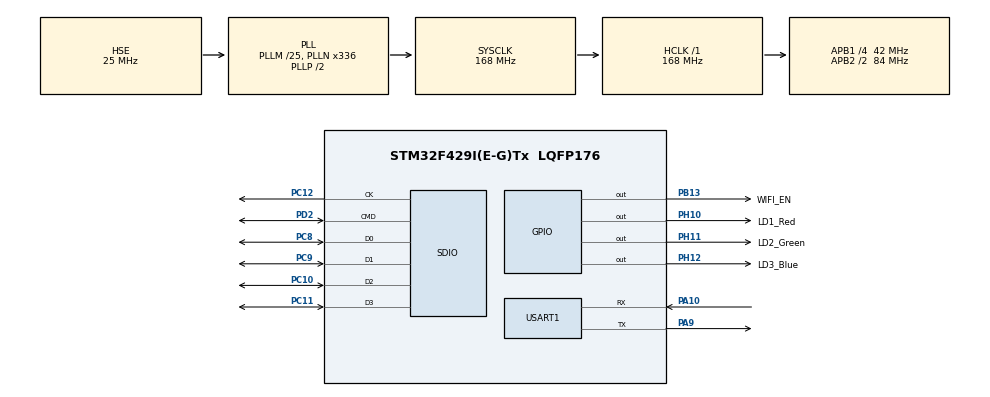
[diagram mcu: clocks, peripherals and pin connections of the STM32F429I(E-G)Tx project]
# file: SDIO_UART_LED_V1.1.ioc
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Dma.Request0=SDIO_RX
Dma.Request1=SDIO_TX
Dma.SDIO_RX.0.Direction=DMA_PERIPH_TO_MEMORY
Dma.SDIO_RX.0.FIFOMode=DMA_FIFOMODE_ENABLE
Dma.SDIO_RX.0.FIFOThreshold=DMA_FIFO_THRESHOLD_FULL
Dma.SDIO_RX.0.Instance=DMA2_Stream3
Dma.SDIO_RX.0.MemBurst=DMA_MBURST_SINGLE
Dma.SDIO_RX.0.MemDataAlignment=DMA_MDATAALIGN_BYTE
Dma.SDIO_RX.0.MemInc=DMA_MINC_ENABLE
Dma.SDIO_RX.0.Mode=DMA_PFCTRL
Dma.SDIO_RX.0.PeriphBurst=DMA_PBURST_INC4
Dma.SDIO_RX.0.PeriphDataAlignment=DMA_PDATAALIGN_WORD
Dma.SDIO_RX.0.PeriphInc=DMA_PINC_DISABLE
Dma.SDIO_RX.0.Priority=DMA_PRIORITY_LOW
Dma.SDIO_TX.1.Direction=DMA_MEMORY_TO_PERIPH
Dma.SDIO_TX.1.FIFOMode=DMA_FIFOMODE_ENABLE
Dma.SDIO_TX.1.FIFOThreshold=DMA_FIFO_THRESHOLD_FULL
Dma.SDIO_TX.1.Instance=DMA2_Stream6
Dma.SDIO_TX.1.MemBurst=DMA_MBURST_SINGLE
Dma.SDIO_TX.1.MemDataAlignment=DMA_MDATAALIGN_BYTE
Dma.SDIO_TX.1.MemInc=DMA_MINC_ENABLE
Dma.SDIO_TX.1.Mode=DMA_PFCTRL
Dma.SDIO_TX.1.PeriphBurst=DMA_PBURST_INC4
Dma.SDIO_TX.1.PeriphDataAlignment=DMA_PDATAALIGN_WORD
Dma.SDIO_TX.1.PeriphInc=DMA_PINC_DISABLE
Dma.SDIO_TX.1.Priority=DMA_PRIORITY_LOW
Mcu.Family=STM32F4
Mcu.Name=STM32F429I(E-G)Tx
Mcu.Package=LQFP176
NVIC.DMA2_Stream3_IRQn=true\:0\:0\:false\:false\:true\:false\:true
NVIC.DMA2_Stream6_IRQn=true\:0\:0\:false\:false\:true\:false\:true
NVIC.PriorityGroup=NVIC_PRIORITYGROUP_4
NVIC.SDIO_IRQn=true\:0\:0\:false\:false\:true\:true\:true
NVIC.TIM7_IRQn=true\:15\:0\:false\:false\:true\:false\:true
NVIC.TimeBase=TIM7_IRQn
NVIC.TimeBaseIP=TIM7
PA10.Mode=Asynchronous
PA10.Signal=USART1_RX
PA13.Mode=Serial_Wire
PA13.Signal=SYS_JTMS-SWDIO
PA14.Mode=Serial_Wire
PA14.Signal=SYS_JTCK-SWCLK
PA9.Mode=Asynchronous
PA9.Signal=USART1_TX
PB13.GPIO_Label=WIFI_EN
PB13.Signal=GPIO_Output
PC10.Mode=SD_4_bits_Wide_bus
PC10.Signal=SDIO_D2
PC11.Mode=SD_4_bits_Wide_bus
PC11.Signal=SDIO_D3
PC12.Mode=SD_4_bits_Wide_bus
PC12.Signal=SDIO_CK
PC8.Mode=SD_4_bits_Wide_bus
PC8.Signal=SDIO_D0
PC9.Mode=SD_4_bits_Wide_bus
PC9.Signal=SDIO_D1
PD2.Mode=SD_4_bits_Wide_bus
PD2.Signal=SDIO_CMD
PH0/OSC_IN.Mode=HSE-External-Oscillator
PH0/OSC_IN.Signal=RCC_OSC_IN
PH1/OSC_OUT.Mode=HSE-External-Oscillator
PH1/OSC_OUT.Signal=RCC_OSC_OUT
PH10.GPIO_Label=LD1_Red
PH10.PinState=GPIO_PIN_SET
PH10.Signal=GPIO_Output
PH11.GPIO_Label=LD2_Green
PH11.PinState=GPIO_PIN_SET
PH11.Signal=GPIO_Output
PH12.GPIO_Label=LD3_Blue
PH12.PinState=GPIO_PIN_SET
PH12.Signal=GPIO_Output
ProjectManager.HeapSize=0x200
ProjectManager.StackSize=0x400
ProjectManager.TargetToolchain=STM32CubeIDE
RCC.48MHZClocksFreq_Value=48000000
RCC.AHBFreq_Value=168000000
RCC.APB1CLKDivider=RCC_HCLK_DIV4
RCC.APB1Freq_Value=42000000
RCC.APB1TimFreq_Value=84000000
RCC.APB2CLKDivider=RCC_HCLK_DIV2
RCC.APB2Freq_Value=84000000
RCC.APB2TimFreq_Value=168000000
RCC.CortexFreq_Value=168000000
RCC.HCLKFreq_Value=168000000
RCC.HSE_VALUE=25000000
RCC.HSI_VALUE=16000000
RCC.LSE_VALUE=32768
RCC.PLLM=25
RCC.PLLN=336
RCC.PLLQ=7
RCC.PLLSourceVirtual=RCC_PLLSOURCE_HSE
RCC.SYSCLKFreq_VALUE=168000000
RCC.SYSCLKSource=RCC_SYSCLKSOURCE_PLLCLK
RCC.VCOOutputFreq_Value=336000000
USART1.VirtualMode=VM_ASYNC
VP_FATFS_VS_Generic.Mode=User_defined
VP_SYS_VS_tim7.Mode=TIM7
board=custom

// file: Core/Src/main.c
/* USER CODE BEGIN Header */
/**
  ******************************************************************************
  * @file           : main.c
  * @brief          : Main program body
  ******************************************************************************
  * @attention
  *
  * Copyright (c) 2022 STMicroelectronics.
  * All rights reserved.
  *
  * This software is licensed under terms that can be found in the LICENSE file
  * in the root directory of this software component.
  * If no LICENSE file comes with this software, it is provided AS-IS.
  *
  ******************************************************************************
  */
/* USER CODE END Header */
#include "main.h"
#include "fatfs.h"

/* USER CODE BEGIN Includes */
#include "stdio.h"
#include "ff.h"
#include "file_handling.h"
/* USER CODE END Includes */

SD_HandleTypeDef hsd;
DMA_HandleTypeDef hdma_sdio_rx;
DMA_HandleTypeDef hdma_sdio_tx;

UART_HandleTypeDef huart1;

void SystemClock_Config(void);
static void MX_GPIO_Init(void);
static void MX_DMA_Init(void);
static void MX_SDIO_SD_Init(void);
static void MX_USART1_UART_Init(void);

/* USER CODE BEGIN 0 */
int _write(int file, char *ptr, int len)
{
	HAL_UART_Transmit(&huart1, (uint8_t *)ptr, len, 100);
	return len;
}

FIL fp;
uint8_t work[4096];
/* USER CODE END 0 */

int main(void)
{

  /* MCU Configuration--------------------------------------------------------*/

  /* Reset of all peripherals, Initializes the Flash interface and the Systick. */
  HAL_Init();

  /* Configure the system clock */
  SystemClock_Config();

  /* Initialize all configured peripherals */
  MX_GPIO_Init();
  MX_DMA_Init();
  MX_SDIO_SD_Init();
  MX_USART1_UART_Init();
  MX_FATFS_Init();
  /* USER CODE BEGIN 2 */

  HAL_Delay(5000);
  FRESULT fRes;

  FATFS sdFat;
  fRes = f_mount(&sdFat, "0:", 1);

  if (fRes == FR_OK)
  {
	  printf("sd card disk mount ok...\r\n");
	  HAL_GPIO_TogglePin(LD2_Green_GPIO_Port, LD2_Green_Pin);

	  DWORD free_byte[1], total_byte[1];
	  fRes = ff_getCapacity("0:", free_byte, total_byte);
	  if (fRes == FR_OK)
	  {
		  printf("get capacity is succeed..\r\n");
		  printf("total Capacity : %ld KByte\r\nfree  Capacity : %ld KByte\r\n",total_byte[0], free_byte[0]);

		  TCHAR path[100] = "0:";
		  fRes = ff_scanDisk(path);
		  if (fRes == FR_OK)
			  printf("-----scan over-----\r\n");
	  }

	  fRes = f_open(&fp, "0:FIRST.TXT", FA_OPEN_ALWAYS|FA_WRITE|FA_READ);

	  fRes = f_lseek(&fp, 0);

	  UINT br[1];
	  uint8_t buff[100];
	  fRes = f_read(&fp, buff, f_size(&fp), br);

	  UINT bw[1];
	  fRes = f_lseek(&fp, f_size(&fp));
	  fRes = f_write(&fp, "123456", 7, bw);

	  (fRes == FR_OK)? printf("scan sd disk ok...\r\n"): printf("scan sd disk error...\r\n");

	  fRes = f_close(&fp);

	  f_mount(NULL, "0:", 1);
  }
  else
	  printf("error code : %d\r\n", fRes);

  /* USER CODE END 2 */

  /* Infinite loop */
  /* USER CODE BEGIN WHILE */
  while (1)
  {
	  HAL_GPIO_TogglePin(LD3_Blue_GPIO_Port, LD3_Blue_Pin);
	  HAL_Delay(500);
    /* USER CODE END WHILE */

  }
}

void SystemClock_Config(void)
{
  RCC_OscInitTypeDef RCC_OscInitStruct = {0};
  RCC_ClkInitTypeDef RCC_ClkInitStruct = {0};

  /** Configure the main internal regulator output voltage
  */
  __HAL_RCC_PWR_CLK_ENABLE();
  __HAL_PWR_VOLTAGESCALING_CONFIG(PWR_REGULATOR_VOLTAGE_SCALE1);
  /** Initializes the RCC Oscillators according to the specified parameters
  * in the RCC_OscInitTypeDef structure.
  */
  RCC_OscInitStruct.OscillatorType = RCC_OSCILLATORTYPE_HSE;
  RCC_OscInitStruct.HSEState = RCC_HSE_ON;
  RCC_OscInitStruct.PLL.PLLState = RCC_PLL_ON;
  RCC_OscInitStruct.PLL.PLLSource = RCC_PLLSOURCE_HSE;
  RCC_OscInitStruct.PLL.PLLM = 25;
  RCC_OscInitStruct.PLL.PLLN = 336;
  RCC_OscInitStruct.PLL.PLLP = RCC_PLLP_DIV2;
  RCC_OscInitStruct.PLL.PLLQ = 7;
  if (HAL_RCC_OscConfig(&RCC_OscInitStruct) != HAL_OK)
  {
    Error_Handler();
  }
  /** Initializes the CPU, AHB and APB buses clocks
  */
  RCC_ClkInitStruct.ClockType = RCC_CLOCKTYPE_HCLK|RCC_CLOCKTYPE_SYSCLK
                              |RCC_CLOCKTYPE_PCLK1|RCC_CLOCKTYPE_PCLK2;
  RCC_ClkInitStruct.SYSCLKSource = RCC_SYSCLKSOURCE_PLLCLK;
  RCC_ClkInitStruct.AHBCLKDivider = RCC_SYSCLK_DIV1;
  RCC_ClkInitStruct.APB1CLKDivider = RCC_HCLK_DIV4;
  RCC_ClkInitStruct.APB2CLKDivider = RCC_HCLK_DIV2;

  if (HAL_RCC_ClockConfig(&RCC_ClkInitStruct, FLASH_LATENCY_5) != HAL_OK)
  {
    Error_Handler();
  }
}

static void MX_SDIO_SD_Init(void)
{

  hsd.Instance = SDIO;
  hsd.Init.ClockEdge = SDIO_CLOCK_EDGE_RISING;
  hsd.Init.ClockBypass = SDIO_CLOCK_BYPASS_DISABLE;
  hsd.Init.ClockPowerSave = SDIO_CLOCK_POWER_SAVE_DISABLE;
  hsd.Init.BusWide = SDIO_BUS_WIDE_1B;
  hsd.Init.HardwareFlowControl = SDIO_HARDWARE_FLOW_CONTROL_DISABLE;
  hsd.Init.ClockDiv = 0;
  if (HAL_SD_Init(&hsd) != HAL_OK)
  {
    Error_Handler();
  }
  if (HAL_SD_ConfigWideBusOperation(&hsd, SDIO_BUS_WIDE_4B) != HAL_OK)
  {
    Error_Handler();
  }

}

static void MX_USART1_UART_Init(void)
{

  huart1.Instance = USART1;
  huart1.Init.BaudRate = 115200;
  huart1.Init.WordLength = UART_WORDLENGTH_8B;
  huart1.Init.StopBits = UART_STOPBITS_1;
  huart1.Init.Parity = UART_PARITY_NONE;
  huart1.Init.Mode = UART_MODE_TX_RX;
  huart1.Init.HwFlowCtl = UART_HWCONTROL_NONE;
  huart1.Init.OverSampling = UART_OVERSAMPLING_16;
  if (HAL_UART_Init(&huart1) != HAL_OK)
  {
    Error_Handler();
  }

}

static void MX_DMA_Init(void)
{

  /* DMA controller clock enable */
  __HAL_RCC_DMA2_CLK_ENABLE();

  /* DMA interrupt init */
  /* DMA2_Stream3_IRQn interrupt configuration */
  HAL_NVIC_SetPriority(DMA2_Stream3_IRQn, 0, 0);
  HAL_NVIC_EnableIRQ(DMA2_Stream3_IRQn);
  /* DMA2_Stream6_IRQn interrupt configuration */
  HAL_NVIC_SetPriority(DMA2_Stream6_IRQn, 0, 0);
  HAL_NVIC_EnableIRQ(DMA2_Stream6_IRQn);

}

static void MX_GPIO_Init(void)
{
  GPIO_InitTypeDef GPIO_InitStruct = {0};

  /* GPIO Ports Clock Enable */
  __HAL_RCC_GPIOH_CLK_ENABLE();
  __HAL_RCC_GPIOB_CLK_ENABLE();
  __HAL_RCC_GPIOC_CLK_ENABLE();
  __HAL_RCC_GPIOA_CLK_ENABLE();
  __HAL_RCC_GPIOD_CLK_ENABLE();

  /*Configure GPIO pin Output Level */
  HAL_GPIO_WritePin(GPIOH, LD1_Red_Pin|LD2_Green_Pin|LD3_Blue_Pin, GPIO_PIN_SET);

  /*Configure GPIO pin Output Level */
  HAL_GPIO_WritePin(WIFI_EN_GPIO_Port, WIFI_EN_Pin, GPIO_PIN_RESET);

  /*Configure GPIO pins : LD1_Red_Pin LD2_Green_Pin LD3_Blue_Pin */
  GPIO_InitStruct.Pin = LD1_Red_Pin|LD2_Green_Pin|LD3_Blue_Pin;
  GPIO_InitStruct.Mode = GPIO_MODE_OUTPUT_PP;
  GPIO_InitStruct.Pull = GPIO_NOPULL;
  GPIO_InitStruct.Speed = GPIO_SPEED_FREQ_LOW;
  HAL_GPIO_Init(GPIOH, &GPIO_InitStruct);

  /*Configure GPIO pin : WIFI_EN_Pin */
  GPIO_InitStruct.Pin = WIFI_EN_Pin;
  GPIO_InitStruct.Mode = GPIO_MODE_OUTPUT_PP;
  GPIO_InitStruct.Pull = GPIO_NOPULL;
  GPIO_InitStruct.Speed = GPIO_SPEED_FREQ_LOW;
  HAL_GPIO_Init(WIFI_EN_GPIO_Port, &GPIO_InitStruct);

}

void HAL_TIM_PeriodElapsedCallback(TIM_HandleTypeDef *htim)
{
  if (htim->Instance == TIM7) {
    HAL_IncTick();
  }
}

void Error_Handler(void)
{
  /* USER CODE BEGIN Error_Handler_Debug */
  /* User can add his own implementation to report the HAL error return state */
	HAL_GPIO_TogglePin(LD1_Red_GPIO_Port, LD1_Red_Pin);
  __disable_irq();
  while (1)
  {
  }
  /* USER CODE END Error_Handler_Debug */
}
